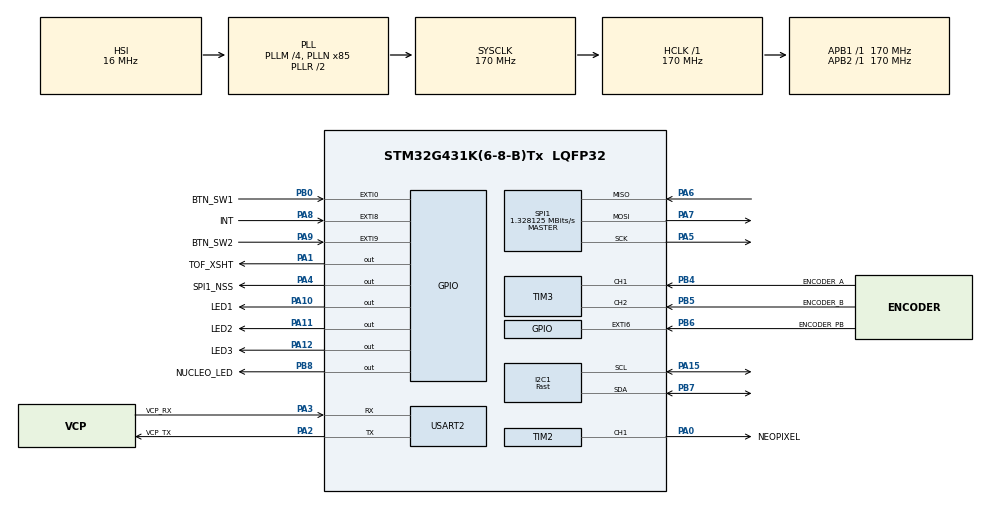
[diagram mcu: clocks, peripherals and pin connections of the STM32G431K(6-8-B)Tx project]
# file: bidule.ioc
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Dma.I2C1_TX.1.Direction=DMA_MEMORY_TO_PERIPH
Dma.I2C1_TX.1.EventEnable=DISABLE
Dma.I2C1_TX.1.Instance=DMA1_Channel2
Dma.I2C1_TX.1.MemDataAlignment=DMA_MDATAALIGN_BYTE
Dma.I2C1_TX.1.MemInc=DMA_MINC_ENABLE
Dma.I2C1_TX.1.Mode=DMA_NORMAL
Dma.I2C1_TX.1.PeriphDataAlignment=DMA_PDATAALIGN_BYTE
Dma.I2C1_TX.1.PeriphInc=DMA_PINC_DISABLE
Dma.I2C1_TX.1.Polarity=HAL_DMAMUX_REQ_GEN_RISING
Dma.I2C1_TX.1.Priority=DMA_PRIORITY_LOW
Dma.I2C1_TX.1.RequestNumber=1
Dma.I2C1_TX.1.SignalID=NONE
Dma.I2C1_TX.1.SyncEnable=DISABLE
Dma.I2C1_TX.1.SyncPolarity=HAL_DMAMUX_SYNC_NO_EVENT
Dma.I2C1_TX.1.SyncRequestNumber=1
Dma.I2C1_TX.1.SyncSignalID=NONE
Dma.Request0=TIM2_CH1
Dma.Request1=I2C1_TX
Dma.TIM2_CH1.0.Direction=DMA_MEMORY_TO_PERIPH
Dma.TIM2_CH1.0.EventEnable=DISABLE
Dma.TIM2_CH1.0.Instance=DMA1_Channel1
Dma.TIM2_CH1.0.MemDataAlignment=DMA_MDATAALIGN_BYTE
Dma.TIM2_CH1.0.MemInc=DMA_MINC_ENABLE
Dma.TIM2_CH1.0.Mode=DMA_CIRCULAR
Dma.TIM2_CH1.0.PeriphDataAlignment=DMA_PDATAALIGN_WORD
Dma.TIM2_CH1.0.PeriphInc=DMA_PINC_DISABLE
Dma.TIM2_CH1.0.Polarity=HAL_DMAMUX_REQ_GEN_RISING
Dma.TIM2_CH1.0.Priority=DMA_PRIORITY_LOW
Dma.TIM2_CH1.0.RequestNumber=1
Dma.TIM2_CH1.0.SignalID=NONE
Dma.TIM2_CH1.0.SyncEnable=DISABLE
Dma.TIM2_CH1.0.SyncPolarity=HAL_DMAMUX_SYNC_NO_EVENT
Dma.TIM2_CH1.0.SyncRequestNumber=1
Dma.TIM2_CH1.0.SyncSignalID=NONE
FREERTOS.Tasks01=defaultTask,0,128,StartDefaultTask,Default,NULL,Dynamic,NULL,NULL
FREERTOS.configCHECK_FOR_STACK_OVERFLOW=1
FREERTOS.configGENERATE_RUN_TIME_STATS=1
FREERTOS.configRECORD_STACK_HIGH_ADDRESS=1
FREERTOS.configTIMER_TASK_PRIORITY=4
FREERTOS.configTOTAL_HEAP_SIZE=8192
FREERTOS.configUSE_MALLOC_FAILED_HOOK=1
FREERTOS.configUSE_STATS_FORMATTING_FUNCTIONS=1
FREERTOS.configUSE_TIMERS=1
FREERTOS.configUSE_TRACE_FACILITY=1
I2C1.I2C_Speed_Mode=I2C_Fast
I2C1.Timing=0x40621236
Mcu.Family=STM32G4
Mcu.Name=STM32G431K(6-8-B)Tx
Mcu.Package=LQFP32
NVIC.DMA1_Channel1_IRQn=true\:5\:0\:false\:false\:true\:true\:false\:true\:true
NVIC.DMA1_Channel2_IRQn=true\:5\:0\:false\:false\:true\:true\:false\:true\:true
NVIC.EXTI0_IRQn=true\:5\:0\:false\:false\:true\:true\:true\:true\:true
NVIC.EXTI9_5_IRQn=true\:5\:0\:false\:false\:true\:true\:true\:true\:true
NVIC.I2C1_ER_IRQn=true\:5\:0\:false\:false\:true\:true\:true\:true\:true
NVIC.I2C1_EV_IRQn=true\:5\:0\:false\:false\:true\:true\:true\:true\:true
NVIC.PriorityGroup=NVIC_PRIORITYGROUP_4
NVIC.TIM2_IRQn=true\:5\:0\:false\:false\:true\:true\:true\:true\:true
NVIC.TIM6_DAC_IRQn=true\:4\:0\:false\:false\:true\:false\:false\:true\:true
NVIC.TimeBase=TIM6_DAC_IRQn
NVIC.TimeBaseIP=TIM6
NVIC.USART2_IRQn=true\:5\:0\:false\:false\:true\:true\:true\:true\:true
PA0.GPIO_Label=NEOPIXEL
PA0.Signal=S_TIM2_CH1
PA1.GPIO_Label=TOF_XSHT
PA1.Signal=GPIO_Output
PA10.GPIO_Label=LED1
PA10.Signal=GPIO_Output
PA11.GPIO_Label=LED2
PA11.Signal=GPIO_Output
PA12.GPIO_Label=LED3
PA12.Signal=GPIO_Output
PA13.GPIO_Label=T_SWDIO
PA13.Mode=Trace_Asynchronous_SW
PA13.Signal=SYS_JTMS-SWDIO
PA14.GPIO_Label=T_SWCLK
PA14.Mode=Trace_Asynchronous_SW
PA14.Signal=SYS_JTCK-SWCLK
PA15.GPIO_Pu=GPIO_PULLUP
PA15.Mode=I2C
PA15.Signal=I2C1_SCL
PA2.GPIO_Label=VCP_TX
PA2.Mode=Asynchronous
PA2.Signal=USART2_TX
PA3.GPIO_Label=VCP_RX
PA3.Mode=Asynchronous
PA3.Signal=USART2_RX
PA4.GPIO_Label=SPI1_NSS
PA4.PinState=GPIO_PIN_SET
PA4.Signal=GPIO_Output
PA5.GPIO_Speed=GPIO_SPEED_FREQ_LOW
PA5.Mode=Full_Duplex_Master
PA5.Signal=SPI1_SCK
PA6.GPIO_Speed=GPIO_SPEED_FREQ_LOW
PA6.Mode=Full_Duplex_Master
PA6.Signal=SPI1_MISO
PA7.GPIO_Speed=GPIO_SPEED_FREQ_LOW
PA7.Mode=Full_Duplex_Master
PA7.Signal=SPI1_MOSI
PA8.GPIO_Label=INT
PA8.Signal=GPXTI8
PA9.GPIO_Label=BTN_SW2
PA9.GPIO_ModeDefaultEXTI=GPIO_MODE_IT_FALLING
PA9.GPIO_PuPd=GPIO_PULLUP
PA9.Signal=GPXTI9
PB0.GPIO_Label=BTN_SW1
PB0.GPIO_ModeDefaultEXTI=GPIO_MODE_IT_FALLING
PB0.GPIO_PuPd=GPIO_PULLUP
PB0.Signal=GPXTI0
PB3.GPIO_Label=T_SWO
PB3.Mode=Trace_Asynchronous_SW
PB3.Signal=SYS_JTDO-SWO
PB4.GPIO_Label=ENCODER_A
PB4.GPIO_PuPd=GPIO_PULLUP
PB4.Signal=S_TIM3_CH1
PB5.GPIO_Label=ENCODER_B
PB5.GPIO_PuPd=GPIO_PULLUP
PB5.Signal=S_TIM3_CH2
PB6.GPIO_Label=ENCODER_PB
PB6.GPIO_PuPd=GPIO_PULLUP
PB6.Signal=GPXTI6
PB7.GPIO_Pu=GPIO_PULLUP
PB7.Mode=I2C
PB7.Signal=I2C1_SDA
PB8-BOOT0.GPIO_Label=NUCLEO_LED
PB8-BOOT0.Signal=GPIO_Output
ProjectManager.HeapSize=0x200
ProjectManager.StackSize=0x400
ProjectManager.TargetToolchain=CMake
RCC.ADC12Freq_Value=170000000
RCC.AHBFreq_Value=170000000
RCC.APB1Freq_Value=170000000
RCC.APB1TimFreq_Value=170000000
RCC.APB2Freq_Value=170000000
RCC.APB2TimFreq_Value=170000000
RCC.CortexFreq_Value=170000000
RCC.EXTERNAL_CLOCK_VALUE=12288000
RCC.HCLKFreq_Value=170000000
RCC.HSE_VALUE=8000000
RCC.HSI48_VALUE=48000000
RCC.HSI_VALUE=16000000
RCC.LSE_VALUE=32768
RCC.PLLM=RCC_PLLM_DIV4
RCC.PLLN=85
RCC.SYSCLKFreq_VALUE=170000000
RCC.SYSCLKSource=RCC_SYSCLKSOURCE_PLLCLK
RCC.USBFreq_Value=170000000
RCC.VCOOutputFreq_Value=340000000
SH.S_TIM2_CH1.0=TIM2_CH1,PWM Generation1 CH1
SH.S_TIM3_CH1.0=TIM3_CH1,Encoder_Interface
SH.S_TIM3_CH2.0=TIM3_CH2,Encoder_Interface
SPI1.BaudRatePrescaler=SPI_BAUDRATEPRESCALER_128
SPI1.CLKPhase=SPI_PHASE_2EDGE
SPI1.CLKPolarity=SPI_POLARITY_HIGH
SPI1.CalculateBaudRate=1.328125 MBits/s
SPI1.DataSize=SPI_DATASIZE_8BIT
SPI1.Direction=SPI_DIRECTION_2LINES
SPI1.Mode=SPI_MODE_MASTER
SPI1.VirtualType=VM_MASTER
TIM2.Channel-PWM\ Generation1\ CH1=TIM_CHANNEL_1
TIM2.PeriodNoDither=212
TIM7.AutoReloadPreload=TIM_AUTORELOAD_PRELOAD_DISABLE
TIM7.Prescaler=17000
USART2.VirtualMode-Asynchronous=VM_ASYNC
VP_FREERTOS_VS_CMSIS_V1.Mode=CMSIS_V1
VP_SYS_VS_DBSignals.Mode=DisableDeadBatterySignals
VP_SYS_VS_tim6.Mode=TIM6
VP_TIM7_VS_ClockSourceINT.Mode=Enable_Timer
board=NUCLEO-G431KB

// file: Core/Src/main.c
/* USER CODE BEGIN Header */
/**
 ******************************************************************************
 * @file           : main.c
 * @brief          : Main program body
 ******************************************************************************
 * @attention
 *
 * Copyright (c) 2026 STMicroelectronics.
 * All rights reserved.
 *
 * This software is licensed under terms that can be found in the LICENSE file
 * in the root directory of this software component.
 * If no LICENSE file comes with this software, it is provided AS-IS.
 *
 ******************************************************************************
 */
/* USER CODE END Header */
#include "main.h"
#include "cmsis_os.h"
#include "dma.h"
#include "i2c.h"
#include "spi.h"
#include "tim.h"
#include "usart.h"
#include "gpio.h"

/* USER CODE BEGIN Includes */
#include <stdio.h>
#include <stdbool.h>
#include "bsp.h"
#include "app.h"
#include "stats.h"
#include "shell.h"
/* USER CODE END Includes */

/* USER CODE BEGIN PM */
#define LED_BLINK_PERIOD 250
/* USER CODE END PM */

void SystemClock_Config(void);
void MX_FREERTOS_Init(void);

/* USER CODE BEGIN 0 */
int _write(int file, char *ptr, int len) {
	HAL_UART_Transmit(&huart2, (uint8_t *)ptr, len, HAL_MAX_DELAY);
	return len;
}
/* USER CODE END 0 */

int main(void)
{

  /* MCU Configuration--------------------------------------------------------*/

  /* Reset of all peripherals, Initializes the Flash interface and the Systick. */
  HAL_Init();

  /* Configure the system clock */
  SystemClock_Config();

  /* Initialize all configured peripherals */
  MX_GPIO_Init();
  MX_DMA_Init();
  MX_I2C1_Init();
  MX_TIM3_Init();
  MX_TIM2_Init();
  MX_USART2_UART_Init();
  MX_SPI1_Init();
  MX_TIM7_Init();
  /* USER CODE BEGIN 2 */
	//printf("\r\n===== TD6 RTOS =====\r\n");

	/* Chaque module crée sa propre tâche. Le main choisit les priorités :
	 * l'ordonnancement global se lit ici, en un seul endroit. */
	bsp_init(3);			/* entrées : courte, bloque souvent : la plus prioritaire */
	bsp_init_display(1);	/* affichage : long, peu urgent (avant app_init) */
	app_init(2);			/* objet actif : crée sa file et sa tâche */
	//stats_init(1);			/* statistiques : affichage lent, priorité basse */
	shell_init();
	//shell_run();

	printf("... All tasks are created\r\n");

	vTaskStartScheduler();

	/* vTaskStartScheduler() ne retourne jamais... sauf si le tas FreeRTOS est
	 * trop petit pour créer les tâches Idle (et timer) : on ne doit pas continuer. */
	printf("Failed starting the scheduler (FreeRTOS heap too small?)\r\n");
	Error_Handler();
  /* USER CODE END 2 */

  /* Call init function for freertos objects (in cmsis_os2.c) */
  MX_FREERTOS_Init();

  /* Start scheduler */
  osKernelStart();

  /* We should never get here as control is now taken by the scheduler */

  /* Infinite loop */
	while (1) {

	}
}

void SystemClock_Config(void)
{
  RCC_OscInitTypeDef RCC_OscInitStruct = {0};
  RCC_ClkInitTypeDef RCC_ClkInitStruct = {0};

  /** Configure the main internal regulator output voltage
  */
  HAL_PWREx_ControlVoltageScaling(PWR_REGULATOR_VOLTAGE_SCALE1_BOOST);

  /** Initializes the RCC Oscillators according to the specified parameters
  * in the RCC_OscInitTypeDef structure.
  */
  RCC_OscInitStruct.OscillatorType = RCC_OSCILLATORTYPE_HSI;
  RCC_OscInitStruct.HSIState = RCC_HSI_ON;
  RCC_OscInitStruct.HSICalibrationValue = RCC_HSICALIBRATION_DEFAULT;
  RCC_OscInitStruct.PLL.PLLState = RCC_PLL_ON;
  RCC_OscInitStruct.PLL.PLLSource = RCC_PLLSOURCE_HSI;
  RCC_OscInitStruct.PLL.PLLM = RCC_PLLM_DIV4;
  RCC_OscInitStruct.PLL.PLLN = 85;
  RCC_OscInitStruct.PLL.PLLP = RCC_PLLP_DIV2;
  RCC_OscInitStruct.PLL.PLLQ = RCC_PLLQ_DIV2;
  RCC_OscInitStruct.PLL.PLLR = RCC_PLLR_DIV2;
  if (HAL_RCC_OscConfig(&RCC_OscInitStruct) != HAL_OK)
  {
    Error_Handler();
  }

  /** Initializes the CPU, AHB and APB buses clocks
  */
  RCC_ClkInitStruct.ClockType = RCC_CLOCKTYPE_HCLK|RCC_CLOCKTYPE_SYSCLK
                              |RCC_CLOCKTYPE_PCLK1|RCC_CLOCKTYPE_PCLK2;
  RCC_ClkInitStruct.SYSCLKSource = RCC_SYSCLKSOURCE_PLLCLK;
  RCC_ClkInitStruct.AHBCLKDivider = RCC_SYSCLK_DIV1;
  RCC_ClkInitStruct.APB1CLKDivider = RCC_HCLK_DIV1;
  RCC_ClkInitStruct.APB2CLKDivider = RCC_HCLK_DIV1;

  if (HAL_RCC_ClockConfig(&RCC_ClkInitStruct, FLASH_LATENCY_4) != HAL_OK)
  {
    Error_Handler();
  }
}

void HAL_TIM_PeriodElapsedCallback(TIM_HandleTypeDef *htim)
{
  if (htim->Instance == TIM6)
  {
    HAL_IncTick();
  }
}

void Error_Handler(void)
{
	__disable_irq();
	while (1)
	{
	}
}

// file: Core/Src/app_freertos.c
/* USER CODE BEGIN Header */
/**
  ******************************************************************************
  * File Name          : app_freertos.c
  * Description        : Code for freertos applications
  ******************************************************************************
  * @attention
  *
  * Copyright (c) 2026 STMicroelectronics.
  * All rights reserved.
  *
  * This software is licensed under terms that can be found in the LICENSE file
  * in the root directory of this software component.
  * If no LICENSE file comes with this software, it is provided AS-IS.
  *
  ******************************************************************************
  */
/* USER CODE END Header */

#include "FreeRTOS.h"
#include "task.h"
#include "main.h"
#include "cmsis_os.h"

osThreadId defaultTaskHandle;

void StartDefaultTask(void const * argument);

void MX_FREERTOS_Init(void); /* (MISRA C 2004 rule 8.1) */

/* Hook prototypes */
void configureTimerForRunTimeStats(void);
unsigned long getRunTimeCounterValue(void);
void vApplicationStackOverflowHook(xTaskHandle xTask, signed char *pcTaskName);
void vApplicationMallocFailedHook(void);

/* USER CODE BEGIN 1 */
/* Functions needed when configGENERATE_RUN_TIME_STATS is on */
__weak void configureTimerForRunTimeStats(void)
{

}

__weak unsigned long getRunTimeCounterValue(void)
{
return 0;
}
/* USER CODE END 1 */

/* USER CODE BEGIN 4 */
__weak void vApplicationStackOverflowHook(xTaskHandle xTask, signed char *pcTaskName)
{
   /* Run time stack overflow checking is performed if
   configCHECK_FOR_STACK_OVERFLOW is defined to 1 or 2. This hook function is
   called if a stack overflow is detected. */
}
/* USER CODE END 4 */

/* USER CODE BEGIN 5 */
__weak void vApplicationMallocFailedHook(void)
{
   /* vApplicationMallocFailedHook() will only be called if
   configUSE_MALLOC_FAILED_HOOK is set to 1 in FreeRTOSConfig.h. It is a hook
   function that will get called if a call to pvPortMalloc() fails.
   pvPortMalloc() is called internally by the kernel whenever a task, queue,
   timer or semaphore is created. It is also called by various parts of the
   demo application. If heap_1.c or heap_2.c are used, then the size of the
   heap available to pvPortMalloc() is defined by configTOTAL_HEAP_SIZE in
   FreeRTOSConfig.h, and the xPortGetFreeHeapSize() API function can be used
   to query the size of free heap space that remains (although it does not
   provide information on how the remaining heap might be fragmented). */
}
/* USER CODE END 5 */

void MX_FREERTOS_Init(void) {

  /* Create the thread(s) */
  /* definition and creation of defaultTask */
  osThreadDef(defaultTask, StartDefaultTask, osPriorityNormal, 0, 128);
  defaultTaskHandle = osThreadCreate(osThread(defaultTask), NULL);

}

void StartDefaultTask(void const * argument)
{
  for(;;)
  {
    osDelay(1);
  }
}
